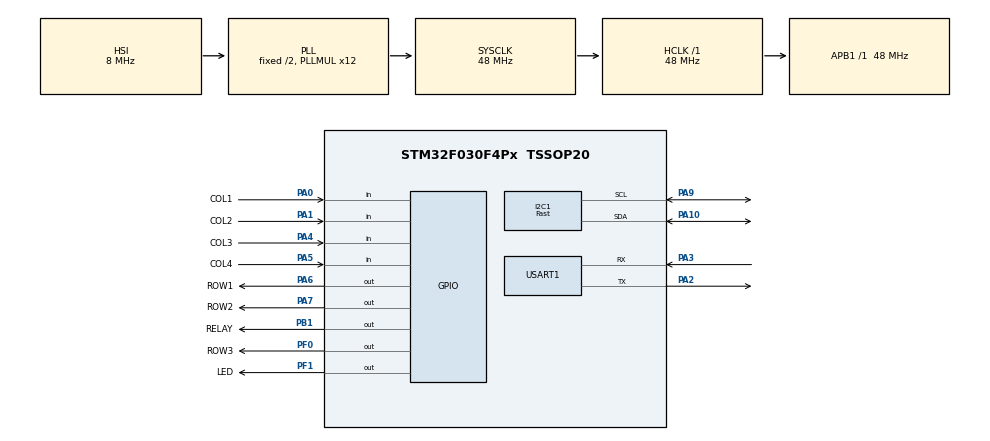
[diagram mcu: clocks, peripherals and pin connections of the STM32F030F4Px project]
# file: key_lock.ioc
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I2C1.I2C_Speed_Mode=I2C_Fast
I2C1.Timing=0x0000020B
Mcu.Family=STM32F0
Mcu.Name=STM32F030F4Px
Mcu.Package=TSSOP20
PA0.GPIO_Label=COL1
PA0.GPIO_PuPd=GPIO_PULLUP
PA0.Signal=GPIO_Input
PA1.GPIO_Label=COL2
PA1.GPIO_PuPd=GPIO_PULLUP
PA1.Signal=GPIO_Input
PA10.Mode=I2C
PA10.Signal=I2C1_SDA
PA13.Mode=Serial_Wire
PA13.Signal=SYS_SWDIO
PA14.Mode=Serial_Wire
PA14.Signal=SYS_SWCLK
PA2.Mode=Asynchronous
PA2.Signal=USART1_TX
PA3.Mode=Asynchronous
PA3.Signal=USART1_RX
PA4.GPIO_Label=COL3
PA4.GPIO_PuPd=GPIO_PULLUP
PA4.Signal=GPIO_Input
PA5.GPIO_Label=COL4
PA5.GPIO_PuPd=GPIO_PULLUP
PA5.Signal=GPIO_Input
PA6.GPIO_Label=ROW1
PA6.Signal=GPIO_Output
PA7.GPIO_Label=ROW2
PA7.Signal=GPIO_Output
PA9.Mode=I2C
PA9.Signal=I2C1_SCL
PB1.GPIO_Label=RELAY
PB1.PinState=GPIO_PIN_SET
PB1.Signal=GPIO_Output
PF0-OSC_IN.GPIO_Label=ROW3
PF0-OSC_IN.Signal=GPIO_Output
PF1-OSC_OUT.GPIO_Label=LED
PF1-OSC_OUT.PinState=GPIO_PIN_SET
PF1-OSC_OUT.Signal=GPIO_Output
ProjectManager.HeapSize=0x200
ProjectManager.StackSize=0x400
ProjectManager.TargetToolchain=MDK-ARM V5.27
RCC.AHBFreq_Value=48000000
RCC.APB1Freq_Value=48000000
RCC.APB1TimFreq_Value=48000000
RCC.HCLKFreq_Value=48000000
RCC.PLLMUL=RCC_PLL_MUL12
RCC.SYSCLKFreq_VALUE=48000000
RCC.SYSCLKSource=RCC_SYSCLKSOURCE_PLLCLK
USART1.VirtualMode-Asynchronous=VM_ASYNC
board=custom

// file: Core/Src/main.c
/* USER CODE BEGIN Header */
/**
  ******************************************************************************
  * @file           : main.c
  * @brief          : Main program body
  ******************************************************************************
  * @attention
  *
  * <h2><center>&copy; Copyright (c) 2021 STMicroelectronics.
  * All rights reserved.</center></h2>
  *
  * This software component is licensed by ST under BSD 3-Clause license,
  * the "License"; You may not use this file except in compliance with the
  * License. You may obtain a copy of the License at:
  *                        opensource.org/licenses/BSD-3-Clause
  *
  ******************************************************************************
  */
/* USER CODE END Header */
#include "main.h"
#include "i2c.h"
#include "usart.h"
#include "gpio.h"

/* USER CODE BEGIN Includes */
#include "oled.h"
#include "key.h"
#include "stmflash.h"
#include "menu.h"

/* USER CODE END Includes */

/* USER CODE BEGIN PD */
#define delay_ms(delay) HAL_Delay(delay)
/* USER CODE END PD */

/* USER CODE BEGIN PV */
u32 password;
u8 lock_state=1;//上锁状态 0解锁  1上锁
u8 system_state=0x00;//状态机状态
/* USER CODE END PV */

void SystemClock_Config(void);

int main(void)
{

  /* MCU Configuration--------------------------------------------------------*/

  /* Reset of all peripherals, Initializes the Flash interface and the Systick. */
  HAL_Init();

  /* Configure the system clock */
  SystemClock_Config();

  /* Initialize all configured peripherals */
  MX_GPIO_Init();
  MX_I2C1_Init();
  MX_USART1_UART_Init();
  /* USER CODE BEGIN 2 */
  HAL_Delay(100);
  OLED_Init();
  OLED_Clear();
  OLED_Refresh();
  //HAL_Delay(1500);
  /* USER CODE END 2 */

  /* Infinite loop */
  /* USER CODE BEGIN WHILE */
  //烧写新STM32时取消注释以下代码
//  passwd_flash_erase();
//  password=123456;
//  passwd_flash_write(password);
  password=passwd_flash_read();

  while (1)
  {
    /* USER CODE END WHILE */

	  system_state_change();
	  statemachine_show(system_state);
	  if(lock_state==1)
		  HAL_GPIO_WritePin(LED_GPIO_Port, LED_Pin, GPIO_PIN_SET);
	  else
		  HAL_GPIO_WritePin(LED_GPIO_Port, LED_Pin, GPIO_PIN_RESET);
	  //printf("menu_state=%#2X\n",system_state);//调试用

  }
}

void SystemClock_Config(void)
{
  RCC_OscInitTypeDef RCC_OscInitStruct = {0};
  RCC_ClkInitTypeDef RCC_ClkInitStruct = {0};
  RCC_PeriphCLKInitTypeDef PeriphClkInit = {0};

  /** Initializes the RCC Oscillators according to the specified parameters
  * in the RCC_OscInitTypeDef structure.
  */
  RCC_OscInitStruct.OscillatorType = RCC_OSCILLATORTYPE_HSI;
  RCC_OscInitStruct.HSIState = RCC_HSI_ON;
  RCC_OscInitStruct.HSICalibrationValue = RCC_HSICALIBRATION_DEFAULT;
  RCC_OscInitStruct.PLL.PLLState = RCC_PLL_ON;
  RCC_OscInitStruct.PLL.PLLSource = RCC_PLLSOURCE_HSI;
  RCC_OscInitStruct.PLL.PLLMUL = RCC_PLL_MUL12;
  RCC_OscInitStruct.PLL.PREDIV = RCC_PREDIV_DIV1;
  if (HAL_RCC_OscConfig(&RCC_OscInitStruct) != HAL_OK)
  {
    Error_Handler();
  }
  /** Initializes the CPU, AHB and APB buses clocks
  */
  RCC_ClkInitStruct.ClockType = RCC_CLOCKTYPE_HCLK|RCC_CLOCKTYPE_SYSCLK
                              |RCC_CLOCKTYPE_PCLK1;
  RCC_ClkInitStruct.SYSCLKSource = RCC_SYSCLKSOURCE_PLLCLK;
  RCC_ClkInitStruct.AHBCLKDivider = RCC_SYSCLK_DIV1;
  RCC_ClkInitStruct.APB1CLKDivider = RCC_HCLK_DIV1;

  if (HAL_RCC_ClockConfig(&RCC_ClkInitStruct, FLASH_LATENCY_1) != HAL_OK)
  {
    Error_Handler();
  }
  PeriphClkInit.PeriphClockSelection = RCC_PERIPHCLK_USART1|RCC_PERIPHCLK_I2C1;
  PeriphClkInit.Usart1ClockSelection = RCC_USART1CLKSOURCE_PCLK1;
  PeriphClkInit.I2c1ClockSelection = RCC_I2C1CLKSOURCE_HSI;
  if (HAL_RCCEx_PeriphCLKConfig(&PeriphClkInit) != HAL_OK)
  {
    Error_Handler();
  }
}

/* USER CODE BEGIN 4 */
int fputc(int c,FILE *stream)//enable printf functions
{
	HAL_UART_Transmit(&huart1,(unsigned char *)&c,1,100);
	return 1;
}

void system_state_change(void)//检查按键，切换系统工作模式
{
	u8 key_return;
    key_return=key_scan();
	if(key_return!=12)
		//printf("%d \n",key_return);
	if (key_return==10)//enter
    {
      system_state=menu_statemachine(system_state,0x02);//enter
    }
    if(key_return==11)//exit
	{
	  //printf("exit button\n");
	  system_state=menu_statemachine(system_state,0x10);//exit
	}
	if(key_return==2)//up
	{
		//printf("up button \n");
	  system_state=menu_statemachine(system_state,0x04);//exit
	}
	if(key_return==8)//down
	{
		//printf("down button \n");
	  system_state=menu_statemachine(system_state,0x08);//exit
	}
}

void statemachine_show(u8 machine_state)
{
	char display_highlight[]={1,1,1};
	if (machine_state==0x00)//初始状态
	{
		OLED_Content_Clear();
		OLED_ShowString(4,0," Password Lock",16,1);
		OLED_ShowString(0,40," Enter for Menu",16,1);
		if(lock_state==1)
			OLED_ShowString(38,20,"LOCKED",16,display_highlight[0]);
		else
			OLED_ShowString(0,20,"    UNLOCKED",16,display_highlight[0]);
		OLED_Refresh();
	}
	if ((machine_state&0xfc)==0x04)//主界面
	{
		OLED_Content_Clear();
		display_highlight[((machine_state&0x03)-1)]=0;//获得高亮位数
		OLED_ShowString(0,0,"Main Menu",16,1);
		OLED_ShowString(0,15,"Unlock",16,display_highlight[0]);
		OLED_ShowString(0,32,"Lock",16,display_highlight[1]);
		OLED_ShowString(0,48,"Reset password",16,display_highlight[2]);
		OLED_Refresh();
	}

}

/* USER CODE END 4 */

void Error_Handler(void)
{
  /* USER CODE BEGIN Error_Handler_Debug */
  /* User can add his own implementation to report the HAL error return state */
  __disable_irq();
  while (1)
  {
	  HAL_GPIO_TogglePin(LED_GPIO_Port, LED_Pin);
	  HAL_Delay(100);
  }
  /* USER CODE END Error_Handler_Debug */
}

/************************ (C) COPYRIGHT STMicroelectronics *****END OF FILE****/
